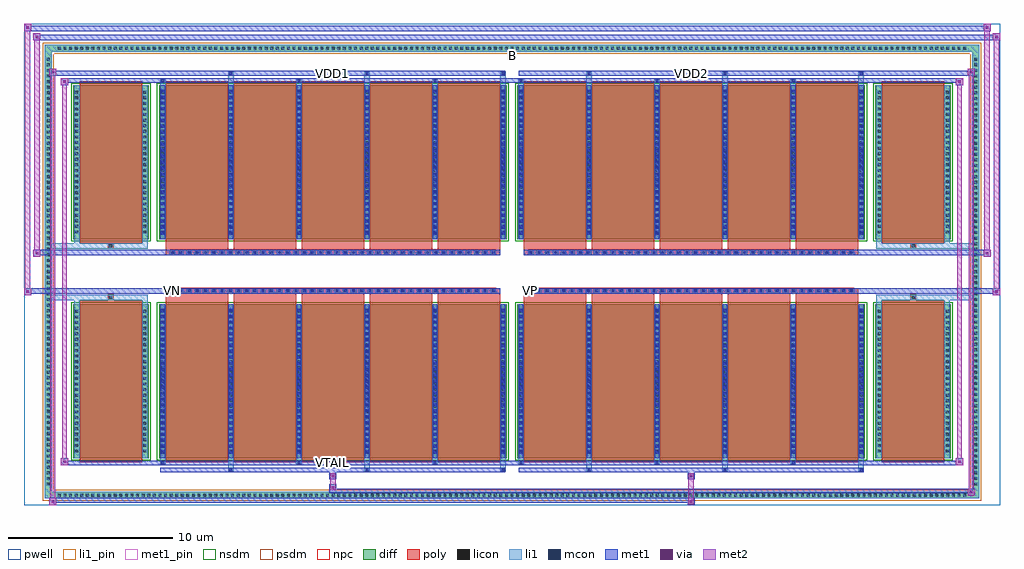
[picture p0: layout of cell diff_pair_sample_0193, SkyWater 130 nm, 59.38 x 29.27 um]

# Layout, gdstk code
import gdstk
lib = gdstk.Library(unit=1e-6, precision=5e-09)
def R(c, l, rs):  # rectangles x0, y0, x1, y1
    for r in rs: c.add(gdstk.rectangle(r[:2], r[2:], *l))
def A(c, l, x, y, w, h, nx, ny, dx, dy):  # array of equal rectangles
    R(c, l, [(x+i*dx, y+j*dy, x+i*dx+w, y+j*dy+h) for i in range(nx) for j in range(ny)])
def P(c, l, *ps):  # polygons
    for p in ps: c.add(gdstk.Polygon(p, *l))
pwell = (64, 44)
diff = (65, 20)
poly = (66, 20)
licon = (66, 44)
li1_pin = (67, 16)
li1 = (67, 20)
mcon = (67, 44)
met1_pin = (68, 16)
met1 = (68, 20)
via = (68, 44)
met2 = (69, 20)
nsdm = (93, 44)
psdm = (94, 20)
npc = (95, 20)

diff_pair_sample_0193 = lib.new_cell('diff_pair_sample_0193')
R(diff_pair_sample_0193, pwell, [(-29.69,-14.2,29.69,15.07), (-27.01,-12.39,-0.01,-0.805), (0.01,-12.39,27.01,-0.805), (-27.01,0.805,-0.01,12.39), (0.01,0.805,27.01,12.39)])
A(diff_pair_sample_0193, diff, -27.745, -13.8, 0.41, 0.41, 163, 2, 0.34, 27.19)
A(diff_pair_sample_0193, diff, -28.42, -13.125, 0.41, 0.41, 1, 77, 0, 0.34)
A(diff_pair_sample_0193, diff, 28.01, -13.125, 0.41, 0.41, 1, 77, 0, 0.34)
R(diff_pair_sample_0193, diff, [(-27.745,-13.8,27.745,-13.39), (-28.42,-13.125,-28.01,13.125), (28.01,-13.125,28.42,13.125), (-26.7,-11.345,-22.11,-1.985), (-21.47,-11.345,-0.32,-1.985), (0.32,-11.345,21.47,-1.985), (22.11,-11.345,26.7,-1.985), (-26.7,1.985,-22.11,11.345), (-21.47,1.985,-0.32,11.345), (0.32,1.985,21.47,11.345), (22.11,1.985,26.7,11.345), (-27.745,13.39,27.745,13.8)])
P(diff_pair_sample_0193, diff, [(28.42,13.8),(-28.42,13.8),(-28.42,-13.39),(-28.01,-13.39),(-28.01,13.39),(28.01,13.39),(28.01,-13.39),(-28.01,-13.39),(-28.42,-13.39),(-28.42,-13.8),(28.42,-13.8)])
A(diff_pair_sample_0193, poly, -21.08, -11.595, 3.81, 9.86, 5, 2, 4.14, 13.33)
A(diff_pair_sample_0193, poly, 0.71, -11.595, 3.81, 9.86, 5, 2, 4.14, 13.33)
A(diff_pair_sample_0193, poly, -21.08, -1.735, 3.81, 0.4, 5, 2, 4.14, 3.07)
A(diff_pair_sample_0193, poly, 0.71, -1.735, 3.81, 0.4, 5, 2, 4.14, 3.07)
A(diff_pair_sample_0193, poly, -20.81, -1.335, 0.33, 0.33, 40, 2, 0.5, 2.34)
A(diff_pair_sample_0193, poly, 0.98, -1.335, 0.33, 0.33, 40, 2, 0.5, 2.34)
R(diff_pair_sample_0193, poly, [(-26.31,-11.595,-22.5,-1.735), (22.5,-11.595,26.31,-1.735), (-24.57,-1.735,-24.24,-1.405), (-24.57,-1.735,-24.24,-1.405), (24.24,-1.735,24.57,-1.405), (24.24,-1.735,24.57,-1.405), (-21.08,-1.335,-0.71,-1.005), (0.71,-1.335,21.08,-1.005), (-21.08,1.005,-0.71,1.335), (0.71,1.005,21.08,1.335), (-24.57,1.405,-24.24,1.735), (-24.57,1.405,-24.24,1.735), (24.24,1.405,24.57,1.735), (24.24,1.405,24.57,1.735), (-26.31,1.735,-22.5,11.595), (22.5,1.735,26.31,11.595)])
A(diff_pair_sample_0193, licon, -27.625, -13.68, 0.17, 0.17, 163, 2, 0.34, 27.19)
A(diff_pair_sample_0193, licon, -28.3, -13.005, 0.17, 0.17, 1, 77, 0, 0.34)
A(diff_pair_sample_0193, licon, 28.13, -13.005, 0.17, 0.17, 1, 77, 0, 0.34)
A(diff_pair_sample_0193, licon, -26.56, -11, 0.17, 0.17, 1, 26, 0, 0.34)
A(diff_pair_sample_0193, licon, -22.42, -11, 0.17, 0.17, 1, 26, 0, 0.34)
A(diff_pair_sample_0193, licon, -21.33, -11, 0.17, 0.17, 6, 26, 4.14, 0.34)
A(diff_pair_sample_0193, licon, 0.46, -11, 0.17, 0.17, 6, 26, 4.14, 0.34)
A(diff_pair_sample_0193, licon, 22.25, -11, 0.17, 0.17, 1, 26, 0, 0.34)
A(diff_pair_sample_0193, licon, 26.39, -11, 0.17, 0.17, 1, 26, 0, 0.34)
A(diff_pair_sample_0193, licon, -20.73, -1.255, 0.17, 0.17, 40, 2, 0.5, 2.34)
A(diff_pair_sample_0193, licon, 1.06, -1.255, 0.17, 0.17, 40, 2, 0.5, 2.34)
A(diff_pair_sample_0193, licon, -26.56, 2.33, 0.17, 0.17, 1, 26, 0, 0.34)
A(diff_pair_sample_0193, licon, -22.42, 2.33, 0.17, 0.17, 1, 26, 0, 0.34)
A(diff_pair_sample_0193, licon, -21.33, 2.33, 0.17, 0.17, 6, 26, 4.14, 0.34)
A(diff_pair_sample_0193, licon, 0.46, 2.33, 0.17, 0.17, 6, 26, 4.14, 0.34)
A(diff_pair_sample_0193, licon, 22.25, 2.33, 0.17, 0.17, 1, 26, 0, 0.34)
A(diff_pair_sample_0193, licon, 26.39, 2.33, 0.17, 0.17, 1, 26, 0, 0.34)
R(diff_pair_sample_0193, licon, [(-24.49,-1.655,-24.32,-1.485), (24.32,-1.655,24.49,-1.485), (-24.49,1.485,-24.32,1.655), (24.32,1.485,24.49,1.655)])
R(diff_pair_sample_0193, li1_pin, [(-0.25,12.89,0.25,13.39)])
A(diff_pair_sample_0193, li1, -27.705, -13.76, 0.33, 0.33, 163, 2, 0.34, 27.19)
A(diff_pair_sample_0193, li1, -28.38, -13.085, 0.33, 0.33, 1, 77, 0, 0.34)
A(diff_pair_sample_0193, li1, 28.05, -13.085, 0.33, 0.33, 1, 77, 0, 0.34)
A(diff_pair_sample_0193, li1, -17.27, -12.15, 0.33, 0.805, 3, 2, 8.28, 23.495)
A(diff_pair_sample_0193, li1, -17.19, -12.15, 0.17, 0.17, 3, 2, 8.28, 24.13)
A(diff_pair_sample_0193, li1, 4.52, -12.15, 0.33, 0.805, 3, 2, 8.28, 23.495)
A(diff_pair_sample_0193, li1, 4.6, -12.15, 0.17, 0.17, 3, 2, 8.28, 24.13)
A(diff_pair_sample_0193, li1, -21.41, -11.72, 0.33, 0.375, 3, 2, 8.28, 23.065)
A(diff_pair_sample_0193, li1, -21.33, -11.72, 0.17, 0.17, 3, 2, 8.28, 23.27)
A(diff_pair_sample_0193, li1, 0.38, -11.72, 0.33, 0.375, 3, 2, 8.28, 23.065)
A(diff_pair_sample_0193, li1, 0.46, -11.72, 0.17, 0.17, 3, 2, 8.28, 23.27)
A(diff_pair_sample_0193, li1, -21.41, -11.345, 0.33, 9.36, 6, 2, 4.14, 13.33)
A(diff_pair_sample_0193, li1, 0.38, -11.345, 0.33, 9.36, 6, 2, 4.14, 13.33)
A(diff_pair_sample_0193, li1, -26.64, -11.08, 0.33, 0.33, 1, 26, 0, 0.34)
A(diff_pair_sample_0193, li1, -22.5, -11.08, 0.33, 0.33, 1, 26, 0, 0.34)
A(diff_pair_sample_0193, li1, -21.41, -11.08, 0.33, 0.33, 6, 26, 4.14, 0.34)
A(diff_pair_sample_0193, li1, 0.38, -11.08, 0.33, 0.33, 6, 26, 4.14, 0.34)
A(diff_pair_sample_0193, li1, 22.17, -11.08, 0.33, 0.33, 1, 26, 0, 0.34)
A(diff_pair_sample_0193, li1, 26.31, -11.08, 0.33, 0.33, 1, 26, 0, 0.34)
A(diff_pair_sample_0193, li1, -21.33, -11.07, 0.17, 0.17, 6, 25, 4.14, 0.36)
A(diff_pair_sample_0193, li1, -21.33, -11.07, 0.17, 8.81, 6, 2, 4.14, 13.33)
A(diff_pair_sample_0193, li1, 0.46, -11.07, 0.17, 0.17, 6, 25, 4.14, 0.36)
A(diff_pair_sample_0193, li1, 0.46, -11.07, 0.17, 8.81, 6, 2, 4.14, 13.33)
A(diff_pair_sample_0193, li1, -20.81, -1.335, 0.33, 0.33, 40, 2, 0.5, 2.34)
A(diff_pair_sample_0193, li1, 0.98, -1.335, 0.33, 0.33, 40, 2, 0.5, 2.34)
A(diff_pair_sample_0193, li1, -26.64, 2.25, 0.33, 0.33, 1, 26, 0, 0.34)
A(diff_pair_sample_0193, li1, -22.5, 2.25, 0.33, 0.33, 1, 26, 0, 0.34)
A(diff_pair_sample_0193, li1, -21.41, 2.25, 0.33, 0.33, 6, 26, 4.14, 0.34)
A(diff_pair_sample_0193, li1, 0.38, 2.25, 0.33, 0.33, 6, 26, 4.14, 0.34)
A(diff_pair_sample_0193, li1, 22.17, 2.25, 0.33, 0.33, 1, 26, 0, 0.34)
A(diff_pair_sample_0193, li1, 26.31, 2.25, 0.33, 0.33, 1, 26, 0, 0.34)
A(diff_pair_sample_0193, li1, -21.33, 2.26, 0.17, 0.17, 6, 25, 4.14, 0.36)
A(diff_pair_sample_0193, li1, 0.46, 2.26, 0.17, 0.17, 6, 25, 4.14, 0.36)
R(diff_pair_sample_0193, li1, [(-28.42,-13.8,-28.01,-13.39), (-28.42,-13.8,-28.01,-13.39), (-28.01,-13.8,28.01,-13.39), (28.01,-13.8,28.42,-13.39), (28.01,-13.8,28.42,-13.39), (-28.42,-13.39,-28.01,13.39), (28.01,-13.39,28.42,13.39), (-26.64,-11.345,-26.31,-1.985), (-22.5,-11.345,-22.17,-1.985), (22.17,-11.345,22.5,-1.985), (26.31,-11.345,26.64,-1.985), (-26.64,-1.985,-26.31,-1.405), (-22.5,-1.985,-22.17,-1.405), (22.17,-1.985,22.5,-1.405), (26.31,-1.985,26.64,-1.405), (-28.42,-1.735,-24.57,-1.405), (-26.64,-1.735,-24.57,-1.405), (-24.57,-1.735,-24.24,-1.405), (-24.24,-1.735,-22.17,-1.405), (22.17,-1.735,24.24,-1.405), (24.24,-1.735,24.57,-1.405), (24.24,-1.735,28.42,-1.405), (24.57,-1.735,26.64,-1.405), (-28.42,1.405,-24.57,1.735), (-26.64,1.405,-24.57,1.735), (-26.64,1.405,-26.31,1.985), (-24.57,1.405,-24.24,1.735), (-24.24,1.405,-22.17,1.735), (-22.5,1.405,-22.17,1.985), (22.17,1.405,24.24,1.735), (22.17,1.405,22.5,1.985), (24.24,1.405,24.57,1.735), (24.24,1.405,28.42,1.735), (24.57,1.405,26.64,1.735), (26.31,1.405,26.64,1.985), (-26.64,1.985,-26.31,11.345), (-22.5,1.985,-22.17,11.345), (22.17,1.985,22.5,11.345), (26.31,1.985,26.64,11.345), (-28.42,13.39,-28.01,13.8), (-28.42,13.39,-28.01,13.8), (-28.01,13.39,28.01,13.8), (28.01,13.39,28.42,13.8), (28.01,13.39,28.42,13.8)])
A(diff_pair_sample_0193, mcon, -17.19, -12.15, 0.17, 0.17, 3, 2, 8.28, 24.13)
A(diff_pair_sample_0193, mcon, 4.6, -12.15, 0.17, 0.17, 3, 2, 8.28, 24.13)
A(diff_pair_sample_0193, mcon, -21.33, -11.72, 0.17, 0.17, 3, 2, 8.28, 23.27)
A(diff_pair_sample_0193, mcon, 0.46, -11.72, 0.17, 0.17, 3, 2, 8.28, 23.27)
A(diff_pair_sample_0193, mcon, -21.33, -11.07, 0.17, 0.17, 6, 25, 4.14, 0.36)
A(diff_pair_sample_0193, mcon, 0.46, -11.07, 0.17, 0.17, 6, 25, 4.14, 0.36)
A(diff_pair_sample_0193, mcon, -20.73, -1.255, 0.17, 0.17, 40, 2, 0.5, 2.34)
A(diff_pair_sample_0193, mcon, 1.06, -1.255, 0.17, 0.17, 40, 2, 0.5, 2.34)
A(diff_pair_sample_0193, mcon, -21.33, 2.26, 0.17, 0.17, 6, 25, 4.14, 0.36)
A(diff_pair_sample_0193, mcon, 0.46, 2.26, 0.17, 0.17, 6, 25, 4.14, 0.36)
R(diff_pair_sample_0193, met1_pin, [(-11.03,-11.76,-10.76,-11.49), (-20.78,-1.295,-20.51,-1.025), (1.01,-1.295,1.28,-1.025), (-11.03,11.94,-10.76,12.21), (10.76,11.94,11.03,12.21)])
A(diff_pair_sample_0193, met1, -17.25, -12.21, 0.29, 0.29, 3, 2, 8.28, 24.13)
A(diff_pair_sample_0193, met1, 4.54, -12.21, 0.29, 0.29, 3, 2, 8.28, 24.13)
A(diff_pair_sample_0193, met1, -21.39, -11.78, 0.29, 0.29, 3, 2, 8.28, 23.27)
A(diff_pair_sample_0193, met1, 0.4, -11.78, 0.29, 0.29, 3, 2, 8.28, 23.27)
A(diff_pair_sample_0193, met1, -21.39, -11.345, 0.29, 9.36, 6, 2, 4.14, 13.33)
A(diff_pair_sample_0193, met1, 0.4, -11.345, 0.29, 9.36, 6, 2, 4.14, 13.33)
A(diff_pair_sample_0193, met1, -21.39, -11.13, 0.29, 0.29, 6, 25, 4.14, 0.36)
A(diff_pair_sample_0193, met1, 0.4, -11.13, 0.29, 0.29, 6, 25, 4.14, 0.36)
A(diff_pair_sample_0193, met1, -20.79, -1.315, 0.29, 0.29, 40, 2, 0.5, 2.34)
A(diff_pair_sample_0193, met1, 1, -1.315, 0.29, 0.29, 40, 2, 0.5, 2.34)
A(diff_pair_sample_0193, met1, -21.39, 2.2, 0.29, 0.29, 6, 25, 4.14, 0.36)
A(diff_pair_sample_0193, met1, 0.4, 2.2, 0.29, 0.29, 6, 25, 4.14, 0.36)
R(diff_pair_sample_0193, met1, [(-28.15,-14.2,-27.72,-13.77), (10.68,-14.2,11.11,-13.77), (-28.15,-14.06,11.11,-13.77), (27.72,-13.63,28.15,-13.2), (-11.11,-13.49,28.15,-13.2), (-11.11,-13.35,-10.68,-12.92), (-11.11,-12.64,-10.68,-12.21), (10.68,-12.64,11.11,-12.21), (-21.39,-12.21,-0.4,-11.92), (0.4,-12.21,21.39,-11.92), (-27.44,-11.78,-27.01,-11.35), (-27.44,-11.78,-21.39,-11.49), (-21.39,-11.78,-0.4,-11.49), (-0.4,-11.78,0.4,-11.49), (0.4,-11.78,21.39,-11.49), (21.39,-11.78,27.44,-11.49), (27.01,-11.78,27.44,-11.35), (-29.69,-1.435,-29.26,-1.005), (29.26,-1.435,29.69,-1.005), (-29.69,-1.335,-0.71,-1.005), (-21.08,-1.335,-0.71,-1.005), (0.71,-1.335,21.08,-1.005), (0.71,-1.335,29.69,-1.005), (-29.12,0.905,-28.69,1.335), (28.69,0.905,29.12,1.335), (-29.12,1.005,-21.08,1.335), (-21.08,1.005,-0.71,1.335), (0.71,1.005,21.08,1.335), (21.08,1.005,29.12,1.335), (-27.44,11.35,-27.01,11.78), (27.01,11.35,27.44,11.78), (-27.44,11.49,-21.39,11.78), (-21.39,11.49,-0.4,11.78), (-0.4,11.49,0.4,11.78), (0.4,11.49,21.39,11.78), (21.39,11.49,27.44,11.78), (-28.15,11.92,-27.72,12.35), (-28.15,11.92,-21.39,12.21), (-21.39,11.92,-0.4,12.21), (0.4,11.92,21.39,12.21), (21.39,11.92,28.15,12.21), (27.72,11.92,28.15,12.35), (-29.12,14.07,-28.69,14.5), (-29.12,14.07,-27.01,14.4), (-27.01,14.07,27.01,14.4), (27.01,14.07,29.69,14.4), (29.26,14.07,29.69,14.5), (-29.69,14.64,-29.26,15.07), (-29.69,14.64,-27.01,14.97), (-27.01,14.64,27.01,14.97), (27.01,14.64,29.12,14.97), (28.69,14.64,29.12,15.07)])
R(diff_pair_sample_0193, via, [(-28.01,-14.06,-27.86,-13.91), (10.82,-14.06,10.97,-13.91), (27.86,-13.49,28.01,-13.34), (-10.97,-13.21,-10.82,-13.06), (-10.97,-12.5,-10.82,-12.35), (10.82,-12.5,10.97,-12.35), (-27.3,-11.64,-27.15,-11.49), (27.15,-11.64,27.3,-11.49), (-29.55,-1.295,-29.4,-1.145), (29.4,-1.295,29.55,-1.145), (-28.98,1.045,-28.83,1.195), (28.83,1.045,28.98,1.195), (-27.3,11.49,-27.15,11.64), (27.15,11.49,27.3,11.64), (-28.01,12.06,-27.86,12.21), (27.86,12.06,28.01,12.21), (-28.98,14.21,-28.83,14.36), (29.4,14.21,29.55,14.36), (-29.55,14.78,-29.4,14.93), (28.83,14.78,28.98,14.93)])
R(diff_pair_sample_0193, met2, [(-28.15,-14.2,-27.72,-13.77), (-28.08,-14.2,-27.79,12.35), (-27.79,-14.2,-27.72,-13.77), (-28.1,-14.15,-27.77,-13.82), (10.73,-14.15,11.06,-13.82), (10.73,-13.82,11.06,-12.59), (27.72,-13.63,28.15,-13.2), (27.79,-13.63,28.08,12.35), (28.08,-13.63,28.15,-13.2), (27.77,-13.58,28.1,-13.25), (-11.06,-13.3,-10.73,-12.97), (-11.06,-12.97,-10.73,-12.59), (-11.06,-12.59,-10.73,-12.26), (10.73,-12.59,11.06,-12.26), (-27.44,-11.78,-27.01,-11.35), (-27.37,-11.78,-27.08,11.78), (-27.08,-11.78,-27.01,-11.35), (27.01,-11.78,27.44,-11.35), (27.08,-11.78,27.37,11.78), (27.37,-11.78,27.44,-11.35), (-27.39,-11.73,-27.06,-11.4), (27.06,-11.73,27.39,-11.4), (-29.69,-1.435,-29.26,-1.005), (-29.64,-1.435,-29.31,15.07), (-29.31,-1.435,-29.26,-1.005), (29.26,-1.435,29.69,-1.005), (29.31,-1.435,29.64,14.5), (29.64,-1.435,29.69,-1.005), (-29.64,-1.385,-29.31,-1.055), (29.31,-1.385,29.64,-1.055), (-29.12,0.905,-28.69,1.335), (-29.07,0.905,-28.74,14.5), (-28.74,0.905,-28.69,1.335), (28.69,0.905,29.12,1.335), (28.74,0.905,29.07,15.07), (29.07,0.905,29.12,1.335), (-29.07,0.955,-28.74,1.285), (28.74,0.955,29.07,1.285), (-27.44,11.35,-27.01,11.78), (-27.08,11.35,-27.01,11.78), (27.01,11.35,27.44,11.78), (27.37,11.35,27.44,11.78), (-27.39,11.4,-27.06,11.73), (27.06,11.4,27.39,11.73), (-28.15,11.92,-27.72,12.35), (-27.79,11.92,-27.72,12.35), (27.72,11.92,28.15,12.35), (28.08,11.92,28.15,12.35), (-28.1,11.97,-27.77,12.3), (27.77,11.97,28.1,12.3), (-29.12,14.07,-28.69,14.5), (-28.74,14.07,-28.69,14.5), (29.26,14.07,29.69,14.5), (29.64,14.07,29.69,14.5), (-29.07,14.12,-28.74,14.45), (29.31,14.12,29.64,14.45), (-29.69,14.64,-29.26,15.07), (-29.31,14.64,-29.26,15.07), (28.69,14.64,29.12,15.07), (29.07,14.64,29.12,15.07), (-29.64,14.69,-29.31,15.02), (28.74,14.69,29.07,15.02)])
R(diff_pair_sample_0193, nsdm, [(-26.83,-11.475,-21.98,-1.855), (-21.6,-11.475,-0.19,-1.855), (0.19,-11.475,21.6,-1.855), (21.98,-11.475,26.83,-1.855), (-26.83,1.855,-21.98,11.475), (-21.6,1.855,-0.19,11.475), (0.19,1.855,21.6,11.475), (21.98,1.855,26.83,11.475)])
P(diff_pair_sample_0193, psdm, [(28.55,13.93),(-28.55,13.93),(-28.55,-13.26),(-27.88,-13.26),(-27.88,13.26),(27.88,13.26),(27.88,-13.26),(-27.88,-13.26),(-28.55,-13.26),(-28.55,-13.93),(28.55,-13.93)])
A(diff_pair_sample_0193, npc, -20.83, -1.355, 0.37, 0.37, 40, 2, 0.5, 2.34)
A(diff_pair_sample_0193, npc, 0.96, -1.355, 0.37, 0.37, 40, 2, 0.5, 2.34)
R(diff_pair_sample_0193, npc, [(-24.59,-1.755,-24.22,-1.385), (24.22,-1.755,24.59,-1.385), (-20.83,-1.355,-19.96,-0.985), (-20.83,-1.355,-19.96,-0.985), (-20.33,-1.355,-19.46,-0.985), (-20.33,-1.355,-19.46,-0.985), (-19.83,-1.355,-18.96,-0.985), (-19.83,-1.355,-18.96,-0.985), (-19.33,-1.355,-18.46,-0.985), (-19.33,-1.355,-18.46,-0.985), (-18.83,-1.355,-17.96,-0.985), (-18.83,-1.355,-17.96,-0.985), (-18.33,-1.355,-17.46,-0.985), (-18.33,-1.355,-17.46,-0.985), (-17.83,-1.355,-16.96,-0.985), (-17.83,-1.355,-16.96,-0.985), (-17.33,-1.355,-16.46,-0.985), (-17.33,-1.355,-16.46,-0.985), (-16.83,-1.355,-15.96,-0.985), (-16.83,-1.355,-15.96,-0.985), (-16.33,-1.355,-15.46,-0.985), (-16.33,-1.355,-15.46,-0.985), (-15.83,-1.355,-14.96,-0.985), (-15.83,-1.355,-14.96,-0.985), (-15.33,-1.355,-14.46,-0.985), (-15.33,-1.355,-14.46,-0.985), (-14.83,-1.355,-13.96,-0.985), (-14.83,-1.355,-13.96,-0.985), (-14.33,-1.355,-13.46,-0.985), (-14.33,-1.355,-13.46,-0.985), (-13.83,-1.355,-12.96,-0.985), (-13.83,-1.355,-12.96,-0.985), (-13.33,-1.355,-12.46,-0.985), (-13.33,-1.355,-12.46,-0.985), (-12.83,-1.355,-11.96,-0.985), (-12.83,-1.355,-11.96,-0.985), (-12.33,-1.355,-11.46,-0.985), (-12.33,-1.355,-11.46,-0.985), (-11.83,-1.355,-10.96,-0.985), (-11.83,-1.355,-10.96,-0.985), (-11.33,-1.355,-10.46,-0.985), (-11.33,-1.355,-10.46,-0.985), (-10.83,-1.355,-9.96,-0.985), (-10.83,-1.355,-9.96,-0.985), (-10.33,-1.355,-9.46,-0.985), (-10.33,-1.355,-9.46,-0.985), (-9.83,-1.355,-8.96,-0.985), (-9.83,-1.355,-8.96,-0.985), (-9.33,-1.355,-8.46,-0.985), (-9.33,-1.355,-8.46,-0.985), (-8.83,-1.355,-7.96,-0.985), (-8.83,-1.355,-7.96,-0.985), (-8.33,-1.355,-7.46,-0.985), (-8.33,-1.355,-7.46,-0.985), (-7.83,-1.355,-6.96,-0.985), (-7.83,-1.355,-6.96,-0.985), (-7.33,-1.355,-6.46,-0.985), (-7.33,-1.355,-6.46,-0.985), (-6.83,-1.355,-5.96,-0.985), (-6.83,-1.355,-5.96,-0.985), (-6.33,-1.355,-5.46,-0.985), (-6.33,-1.355,-5.46,-0.985), (-5.83,-1.355,-4.96,-0.985), (-5.83,-1.355,-4.96,-0.985), (-5.33,-1.355,-4.46,-0.985), (-5.33,-1.355,-4.46,-0.985), (-4.83,-1.355,-3.96,-0.985), (-4.83,-1.355,-3.96,-0.985), (-4.33,-1.355,-3.46,-0.985), (-4.33,-1.355,-3.46,-0.985), (-3.83,-1.355,-2.96,-0.985), (-3.83,-1.355,-2.96,-0.985), (-3.33,-1.355,-2.46,-0.985), (-3.33,-1.355,-2.46,-0.985), (-2.83,-1.355,-1.96,-0.985), (-2.83,-1.355,-1.96,-0.985), (-2.33,-1.355,-1.46,-0.985), (-2.33,-1.355,-1.46,-0.985), (-1.83,-1.355,-0.96,-0.985), (-1.83,-1.355,-0.96,-0.985), (0.96,-1.355,1.83,-0.985), (0.96,-1.355,1.83,-0.985), (1.46,-1.355,2.33,-0.985), (1.46,-1.355,2.33,-0.985), (1.96,-1.355,2.83,-0.985), (1.96,-1.355,2.83,-0.985), (2.46,-1.355,3.33,-0.985), (2.46,-1.355,3.33,-0.985), (2.96,-1.355,3.83,-0.985), (2.96,-1.355,3.83,-0.985), (3.46,-1.355,4.33,-0.985), (3.46,-1.355,4.33,-0.985), (3.96,-1.355,4.83,-0.985), (3.96,-1.355,4.83,-0.985), (4.46,-1.355,5.33,-0.985), (4.46,-1.355,5.33,-0.985), (4.96,-1.355,5.83,-0.985), (4.96,-1.355,5.83,-0.985), (5.46,-1.355,6.33,-0.985), (5.46,-1.355,6.33,-0.985), (5.96,-1.355,6.83,-0.985), (5.96,-1.355,6.83,-0.985), (6.46,-1.355,7.33,-0.985), (6.46,-1.355,7.33,-0.985), (6.96,-1.355,7.83,-0.985), (6.96,-1.355,7.83,-0.985), (7.46,-1.355,8.33,-0.985), (7.46,-1.355,8.33,-0.985), (7.96,-1.355,8.83,-0.985), (7.96,-1.355,8.83,-0.985), (8.46,-1.355,9.33,-0.985), (8.46,-1.355,9.33,-0.985), (8.96,-1.355,9.83,-0.985), (8.96,-1.355,9.83,-0.985), (9.46,-1.355,10.33,-0.985), (9.46,-1.355,10.33,-0.985), (9.96,-1.355,10.83,-0.985), (9.96,-1.355,10.83,-0.985), (10.46,-1.355,11.33,-0.985), (10.46,-1.355,11.33,-0.985), (10.96,-1.355,11.83,-0.985), (10.96,-1.355,11.83,-0.985), (11.46,-1.355,12.33,-0.985), (11.46,-1.355,12.33,-0.985), (11.96,-1.355,12.83,-0.985), (11.96,-1.355,12.83,-0.985), (12.46,-1.355,13.33,-0.985), (12.46,-1.355,13.33,-0.985), (12.96,-1.355,13.83,-0.985), (12.96,-1.355,13.83,-0.985), (13.46,-1.355,14.33,-0.985), (13.46,-1.355,14.33,-0.985), (13.96,-1.355,14.83,-0.985), (13.96,-1.355,14.83,-0.985), (14.46,-1.355,15.33,-0.985), (14.46,-1.355,15.33,-0.985), (14.96,-1.355,15.83,-0.985), (14.96,-1.355,15.83,-0.985), (15.46,-1.355,16.33,-0.985), (15.46,-1.355,16.33,-0.985), (15.96,-1.355,16.83,-0.985), (15.96,-1.355,16.83,-0.985), (16.46,-1.355,17.33,-0.985), (16.46,-1.355,17.33,-0.985), (16.96,-1.355,17.83,-0.985), (16.96,-1.355,17.83,-0.985), (17.46,-1.355,18.33,-0.985), (17.46,-1.355,18.33,-0.985), (17.96,-1.355,18.83,-0.985), (17.96,-1.355,18.83,-0.985), (18.46,-1.355,19.33,-0.985), (18.46,-1.355,19.33,-0.985), (18.96,-1.355,19.83,-0.985), (18.96,-1.355,19.83,-0.985), (19.46,-1.355,20.33,-0.985), (19.46,-1.355,20.33,-0.985), (19.96,-1.355,20.83,-0.985), (19.96,-1.355,20.83,-0.985), (-20.83,0.985,-19.96,1.355), (-20.83,0.985,-19.96,1.355), (-20.33,0.985,-19.46,1.355), (-20.33,0.985,-19.46,1.355), (-19.83,0.985,-18.96,1.355), (-19.83,0.985,-18.96,1.355), (-19.33,0.985,-18.46,1.355), (-19.33,0.985,-18.46,1.355), (-18.83,0.985,-17.96,1.355), (-18.83,0.985,-17.96,1.355), (-18.33,0.985,-17.46,1.355), (-18.33,0.985,-17.46,1.355), (-17.83,0.985,-16.96,1.355), (-17.83,0.985,-16.96,1.355), (-17.33,0.985,-16.46,1.355), (-17.33,0.985,-16.46,1.355), (-16.83,0.985,-15.96,1.355), (-16.83,0.985,-15.96,1.355), (-16.33,0.985,-15.46,1.355), (-16.33,0.985,-15.46,1.355), (-15.83,0.985,-14.96,1.355), (-15.83,0.985,-14.96,1.355), (-15.33,0.985,-14.46,1.355), (-15.33,0.985,-14.46,1.355), (-14.83,0.985,-13.96,1.355), (-14.83,0.985,-13.96,1.355), (-14.33,0.985,-13.46,1.355), (-14.33,0.985,-13.46,1.355), (-13.83,0.985,-12.96,1.355), (-13.83,0.985,-12.96,1.355), (-13.33,0.985,-12.46,1.355), (-13.33,0.985,-12.46,1.355), (-12.83,0.985,-11.96,1.355), (-12.83,0.985,-11.96,1.355), (-12.33,0.985,-11.46,1.355), (-12.33,0.985,-11.46,1.355), (-11.83,0.985,-10.96,1.355), (-11.83,0.985,-10.96,1.355), (-11.33,0.985,-10.46,1.355), (-11.33,0.985,-10.46,1.355), (-10.83,0.985,-9.96,1.355), (-10.83,0.985,-9.96,1.355), (-10.33,0.985,-9.46,1.355), (-10.33,0.985,-9.46,1.355), (-9.83,0.985,-8.96,1.355), (-9.83,0.985,-8.96,1.355), (-9.33,0.985,-8.46,1.355), (-9.33,0.985,-8.46,1.355), (-8.83,0.985,-7.96,1.355), (-8.83,0.985,-7.96,1.355), (-8.33,0.985,-7.46,1.355), (-8.33,0.985,-7.46,1.355), (-7.83,0.985,-6.96,1.355), (-7.83,0.985,-6.96,1.355), (-7.33,0.985,-6.46,1.355), (-7.33,0.985,-6.46,1.355), (-6.83,0.985,-5.96,1.355), (-6.83,0.985,-5.96,1.355), (-6.33,0.985,-5.46,1.355), (-6.33,0.985,-5.46,1.355), (-5.83,0.985,-4.96,1.355), (-5.83,0.985,-4.96,1.355), (-5.33,0.985,-4.46,1.355), (-5.33,0.985,-4.46,1.355), (-4.83,0.985,-3.96,1.355), (-4.83,0.985,-3.96,1.355), (-4.33,0.985,-3.46,1.355), (-4.33,0.985,-3.46,1.355), (-3.83,0.985,-2.96,1.355), (-3.83,0.985,-2.96,1.355), (-3.33,0.985,-2.46,1.355), (-3.33,0.985,-2.46,1.355), (-2.83,0.985,-1.96,1.355), (-2.83,0.985,-1.96,1.355), (-2.33,0.985,-1.46,1.355), (-2.33,0.985,-1.46,1.355), (-1.83,0.985,-0.96,1.355), (-1.83,0.985,-0.96,1.355), (0.96,0.985,1.83,1.355), (0.96,0.985,1.83,1.355), (1.46,0.985,2.33,1.355), (1.46,0.985,2.33,1.355), (1.96,0.985,2.83,1.355), (1.96,0.985,2.83,1.355), (2.46,0.985,3.33,1.355), (2.46,0.985,3.33,1.355), (2.96,0.985,3.83,1.355), (2.96,0.985,3.83,1.355), (3.46,0.985,4.33,1.355), (3.46,0.985,4.33,1.355), (3.96,0.985,4.83,1.355), (3.96,0.985,4.83,1.355), (4.46,0.985,5.33,1.355), (4.46,0.985,5.33,1.355), (4.96,0.985,5.83,1.355), (4.96,0.985,5.83,1.355), (5.46,0.985,6.33,1.355), (5.46,0.985,6.33,1.355), (5.96,0.985,6.83,1.355), (5.96,0.985,6.83,1.355), (6.46,0.985,7.33,1.355), (6.46,0.985,7.33,1.355), (6.96,0.985,7.83,1.355), (6.96,0.985,7.83,1.355), (7.46,0.985,8.33,1.355), (7.46,0.985,8.33,1.355), (7.96,0.985,8.83,1.355), (7.96,0.985,8.83,1.355), (8.46,0.985,9.33,1.355), (8.46,0.985,9.33,1.355), (8.96,0.985,9.83,1.355), (8.96,0.985,9.83,1.355), (9.46,0.985,10.33,1.355), (9.46,0.985,10.33,1.355), (9.96,0.985,10.83,1.355), (9.96,0.985,10.83,1.355), (10.46,0.985,11.33,1.355), (10.46,0.985,11.33,1.355), (10.96,0.985,11.83,1.355), (10.96,0.985,11.83,1.355), (11.46,0.985,12.33,1.355), (11.46,0.985,12.33,1.355), (11.96,0.985,12.83,1.355), (11.96,0.985,12.83,1.355), (12.46,0.985,13.33,1.355), (12.46,0.985,13.33,1.355), (12.96,0.985,13.83,1.355), (12.96,0.985,13.83,1.355), (13.46,0.985,14.33,1.355), (13.46,0.985,14.33,1.355), (13.96,0.985,14.83,1.355), (13.96,0.985,14.83,1.355), (14.46,0.985,15.33,1.355), (14.46,0.985,15.33,1.355), (14.96,0.985,15.83,1.355), (14.96,0.985,15.83,1.355), (15.46,0.985,16.33,1.355), (15.46,0.985,16.33,1.355), (15.96,0.985,16.83,1.355), (15.96,0.985,16.83,1.355), (16.46,0.985,17.33,1.355), (16.46,0.985,17.33,1.355), (16.96,0.985,17.83,1.355), (16.96,0.985,17.83,1.355), (17.46,0.985,18.33,1.355), (17.46,0.985,18.33,1.355), (17.96,0.985,18.83,1.355), (17.96,0.985,18.83,1.355), (18.46,0.985,19.33,1.355), (18.46,0.985,19.33,1.355), (18.96,0.985,19.83,1.355), (18.96,0.985,19.83,1.355), (19.46,0.985,20.33,1.355), (19.46,0.985,20.33,1.355), (19.96,0.985,20.83,1.355), (19.96,0.985,20.83,1.355), (-24.59,1.385,-24.22,1.755), (24.22,1.385,24.59,1.755)])
diff_pair_sample_0193.add(gdstk.Label('VTAIL', (-10.895,-11.625), layer=68, texttype=5))
diff_pair_sample_0193.add(gdstk.Label('VN', (-20.645,-1.16), layer=68, texttype=5))
diff_pair_sample_0193.add(gdstk.Label('VP', (1.145,-1.16), layer=68, texttype=5))
diff_pair_sample_0193.add(gdstk.Label('B', (0,13.14), layer=67, texttype=5))
diff_pair_sample_0193.add(gdstk.Label('VDD2', (10.895,12.075), layer=68, texttype=5))
diff_pair_sample_0193.add(gdstk.Label('VDD1', (-10.895,12.075), layer=68, texttype=5))

lib.write_gds('diff_pair_sample_0193.gds')
